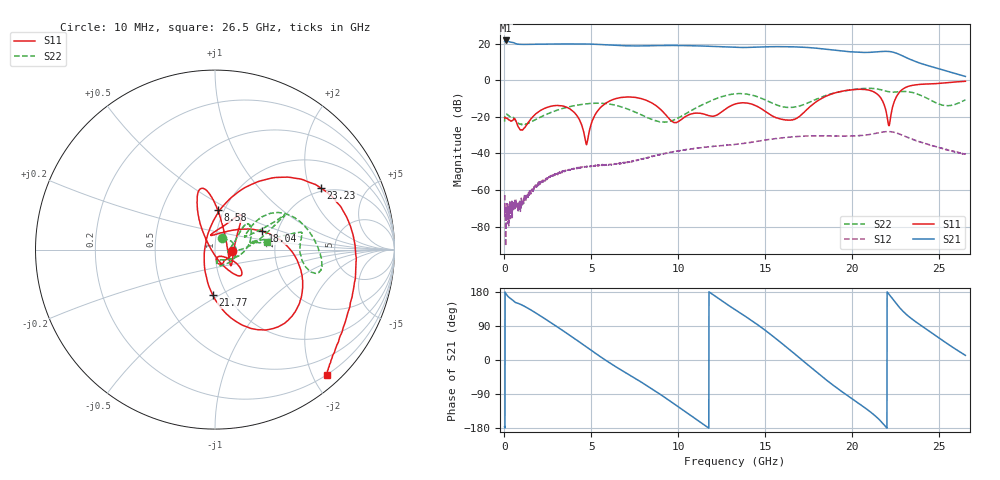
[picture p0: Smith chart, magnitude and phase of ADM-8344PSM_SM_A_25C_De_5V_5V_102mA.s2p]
!Keysight Technologies,N5247B,US58420632,A.17.35.14
!Date: Friday, November 22, 2024 16:01:38
!Correction: S11(C  2-Port  )
!S21(C  2-Port  )
!S12(C  2-Port  )
!S22(C  2-Port  )
!S2P File: Measurements: S11, S21, S12, S22:
# Hz S  dB  R 50
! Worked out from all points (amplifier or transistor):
!   2650 points, 10 MHz to 26.5 GHz, reference 50 ohm
!   highest |S21| = 21.7 dB at 70 MHz (marker M1)
!   |S21| within 3 dB of that: start of sweep to 11.25 GHz
!   unconditionally stable (mu >= 1): start of sweep to end of sweep
!   at 4.42 GHz: K = 11.54, MAG = 20.1 dB, |S12| = -47.6 dB
!   at 13.26 GHz: K = 2.95, MAG = 18.9 dB, |S12| = -35.1 dB
!   at 26.5 GHz: K = 4.66, MAG = 11.6 dB, |S12| = -40.5 dB
!   S11 on the Smith chart (normalised r, x): 10 MHz: 1.21, -0.02; 8.58 GHz: 0.93, +0.44; 18.04 GHz: 1.66, +0.37; 21.77 GHz: 0.86, -0.46; 23.23 GHz: 1.88, +2.41; 26.5 GHz: 0.19, -2.22
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1e7  -20.41 -4.3  21.23 -176.3  -63.46 -119.5  -22.55 57.8
7e7  -20.53 -14.3  21.73 176.4  -90.64 -8.6  -18.62 -2.6
5.7e8  -20.90 -63.1  20.36 153.8  -67.94 41.2  -21.03 -77.2
2.47e9  -14.78 -37.3  19.76 104.5  -53.35 61.9  -18.43 -22.1
3.45e9  -14.31 -49.0  19.84 74.7  -49.85 32.6  -15.14 1.9
4.43e9  -24.13 -72.0  19.85 43.7  -47.74 3.5  -13.21 22.2
6.12e9  -11.01 110.8  19.18 -9.6  -45.88 -32.3  -13.16 39.4
8.58e9  -13.03 86.3  18.88 -79.1  -41.41 -80.1  -21.79 2.9
8.84e9  -14.81 80.6  18.93 -87.0  -40.88 -86.7  -22.50 -3.2
9.9e9  -23.03 -1.3  18.99 -120.4  -38.80 -118.2  -21.04 -6.8
1.117e10  -17.98 -43.8  18.76 -161.2  -36.98 -156.2  -14.38 5.8
1.213e10  -19.38 5.3  18.43 167.9  -36.02 174.0  -10.21 18.5
1.326e10  -12.99 49.1  17.95 132.8  -35.07 141.6  -7.41 25.9
1.534e10  -19.21 83.1  18.33 66.1  -32.25 78.3  -12.27 23.2
1.659e10  -21.53 90.1  18.27 19.9  -30.94 34.6  -14.78 24.6
1.767e10  -13.57 33.1  17.72 -21.7  -30.42 -4.6  -11.43 34.0
1.804e10  -11.03 21.3  17.40 -35.7  -30.36 -17.6  -9.90 34.7
1.972e10  -5.48 -23.5  15.67 -94.0  -30.43 -71.9  -5.55 12.2
2.177e10  -11.98 -93.0  15.75 -167.9  -28.24 -145.2  -5.48 -12.2
2.209e10  -24.66 -175.3  15.72 174.5  -28.03 -164.0  -6.27 -6.5
2.323e10  -3.31 30.0  11.80 115.4  -31.41 133.5  -6.31 11.6
2.65e10  -0.57 -48.2  2.08 12.3  -40.50 34.8  -10.64 8.2
